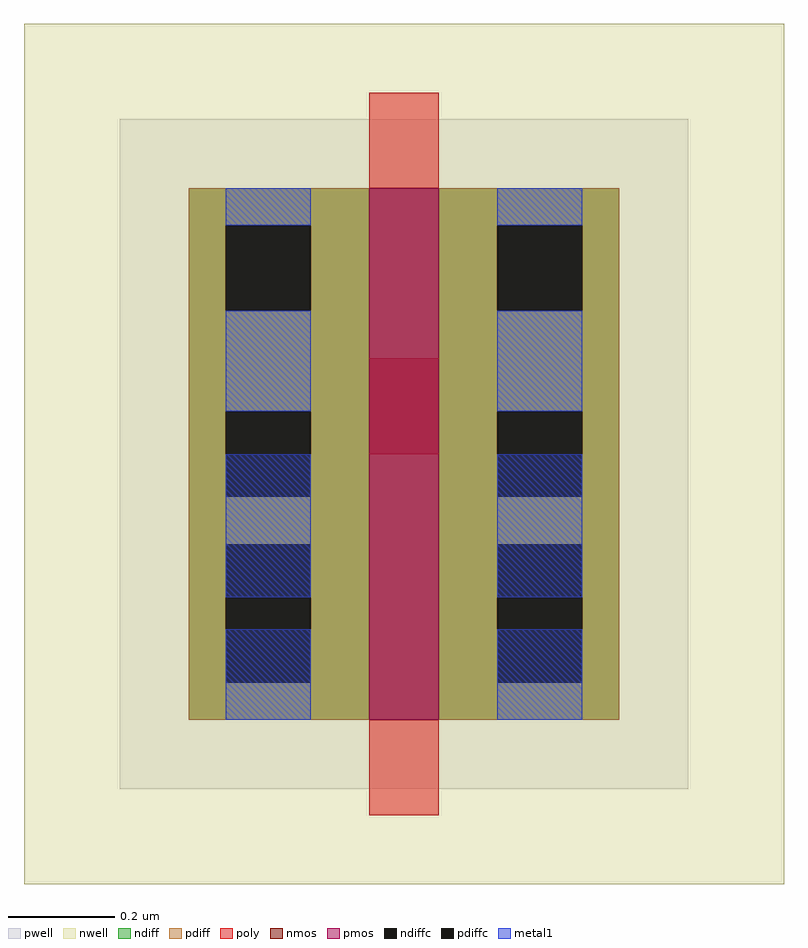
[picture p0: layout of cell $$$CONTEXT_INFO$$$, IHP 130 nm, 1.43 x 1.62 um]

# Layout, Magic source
magic
tech ihp-sg13g2
use nmos$1  nmos$1_0
transform 1 0 0 0 1 0
box -13 -18 94 118
use nmos  nmos_0
transform 1 0 0 0 1 0
box -13 -18 94 68
use pmos$1  pmos$1_0
transform 1 0 0 0 1 0
box -31 -31 112 131
use pmos  pmos_0
transform 1 0 0 0 1 0
box -31 -31 112 81
<< end >>

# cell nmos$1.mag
magic
tech ihp-sg13g2
magscale 1 2
<< pwell >>
rect -26 -26 188 226
<< nmos >>
rect 68 0 94 200
<< ndiff >>
rect 0 186 68 200
rect 0 154 14 186
rect 46 154 68 186
rect 0 116 68 154
rect 0 84 14 116
rect 46 84 68 116
rect 0 46 68 84
rect 0 14 14 46
rect 46 14 68 46
rect 0 0 68 14
rect 94 186 162 200
rect 94 154 116 186
rect 148 154 162 186
rect 94 116 162 154
rect 94 84 116 116
rect 148 84 162 116
rect 94 46 162 84
rect 94 14 116 46
rect 148 14 162 46
rect 94 0 162 14
<< ndiffc >>
rect 14 154 46 186
rect 14 84 46 116
rect 14 14 46 46
rect 116 154 148 186
rect 116 84 148 116
rect 116 14 148 46
<< poly >>
rect 68 200 94 236
rect 68 -36 94 0
<< metal1 >>
rect 14 186 46 200
rect 14 116 46 154
rect 14 46 46 84
rect 14 0 46 14
rect 116 186 148 200
rect 116 116 148 154
rect 116 46 148 84
rect 116 0 148 14
<< labels >>
flabel comment s 81 100 81 100 0 FreeSans 200 90 0 0 nmos
<< end >>

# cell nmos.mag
magic
tech ihp-sg13g2
magscale 1 2
<< pwell >>
rect -26 -26 188 126
<< nmos >>
rect 68 0 94 100
<< ndiff >>
rect 0 66 68 100
rect 0 34 14 66
rect 46 34 68 66
rect 0 0 68 34
rect 94 66 162 100
rect 94 34 116 66
rect 148 34 162 66
rect 94 0 162 34
<< ndiffc >>
rect 14 34 46 66
rect 116 34 148 66
<< poly >>
rect 68 100 94 136
rect 68 -36 94 0
<< metal1 >>
rect 14 66 46 100
rect 14 0 46 34
rect 116 66 148 100
rect 116 0 148 34
<< labels >>
flabel comment s 81 50 81 50 0 FreeSans 200 90 0 0 nmos
<< end >>

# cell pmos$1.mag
magic
tech ihp-sg13g2
magscale 1 2
<< nwell >>
rect -62 -62 224 262
<< pmos >>
rect 68 0 94 200
<< pdiff >>
rect 0 186 68 200
rect 0 154 14 186
rect 46 154 68 186
rect 0 116 68 154
rect 0 84 14 116
rect 46 84 68 116
rect 0 46 68 84
rect 0 14 14 46
rect 46 14 68 46
rect 0 0 68 14
rect 94 186 162 200
rect 94 154 116 186
rect 148 154 162 186
rect 94 116 162 154
rect 94 84 116 116
rect 148 84 162 116
rect 94 46 162 84
rect 94 14 116 46
rect 148 14 162 46
rect 94 0 162 14
<< pdiffc >>
rect 14 154 46 186
rect 14 84 46 116
rect 14 14 46 46
rect 116 154 148 186
rect 116 84 148 116
rect 116 14 148 46
<< poly >>
rect 68 200 94 236
rect 68 -36 94 0
<< metal1 >>
rect 14 186 46 200
rect 14 116 46 154
rect 14 46 46 84
rect 14 0 46 14
rect 116 186 148 200
rect 116 116 148 154
rect 116 46 148 84
rect 116 0 148 14
<< labels >>
flabel comment s 81 100 81 100 0 FreeSans 200 90 0 0 pmos
<< end >>

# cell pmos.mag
magic
tech ihp-sg13g2
magscale 1 2
<< nwell >>
rect -62 -62 224 162
<< pmos >>
rect 68 0 94 100
<< pdiff >>
rect 0 66 68 100
rect 0 34 14 66
rect 46 34 68 66
rect 0 0 68 34
rect 94 66 162 100
rect 94 34 116 66
rect 148 34 162 66
rect 94 0 162 34
<< pdiffc >>
rect 14 34 46 66
rect 116 34 148 66
<< poly >>
rect 68 100 94 136
rect 68 -36 94 0
<< metal1 >>
rect 14 66 46 100
rect 14 0 46 34
rect 116 66 148 100
rect 116 0 148 34
<< labels >>
flabel comment s 81 50 81 50 0 FreeSans 200 90 0 0 pmos
<< end >>
